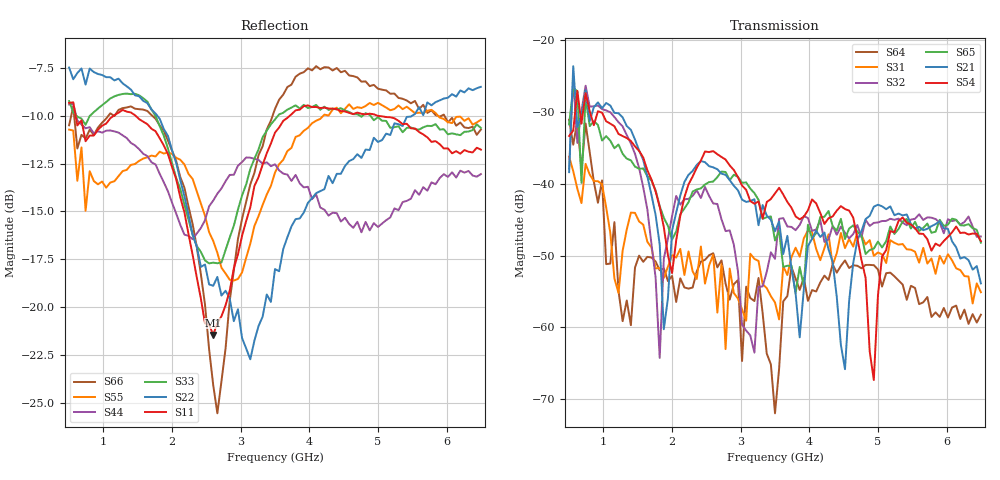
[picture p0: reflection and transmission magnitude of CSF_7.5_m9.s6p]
!Keysight Technologies,M9804A,MY58100912,A.14.10.03
!Date: Thursday, April 27, 2023 10:28:33
!Correction: S11(C  6-Port  )
!S12(C  6-Port  )
!S13(C  6-Port  )
!S14(C  6-Port  )
!S15(C  6-Port  )
!S16(C  6-Port  )
!S21(C  6-Port  )
!S22(C  6-Port  )
!S23(C  6-Port  )
!S24(C  6-Port  )
!S25(C  6-Port  )
!S26(C  6-Port  )
!S31(C  6-Port  )
!S32(C  6-Port  )
!S33(C  6-Port  )
!S34(C  6-Port  )
!S35(C  6-Port  )
!S36(C  6-Port  )
!S41(C  6-Port  )
!S42(C  6-Port  )
!S43(C  6-Port  )
!S44(C  6-Port  )
!S45(C  6-Port  )
!S46(C  6-Port  )
!S51(C  6-Port  )
!S52(C  6-Port  )
!S53(C  6-Port  )
!S54(C  6-Port  )
!S55(C  6-Port  )
!S56(C  6-Port  )
!S61(C  6-Port  )
!S62(C  6-Port  )
!S63(C  6-Port  )
!S64(C  6-Port  )
!S65(C  6-Port  )
!S66(C  6-Port  )
!S6P File: Measurement: :
# Hz S  RI  R 50
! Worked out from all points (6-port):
!   101 points, 500 MHz to 6.5 GHz, reference 50 ohm
!   strongest paths, dB at 500 MHz, 2 GHz, 3.5 GHz, 5 GHz, 6.5 GHz:
!     S54: -33.3, -52.4, -41.3, -55.6, -48.0
!     S21: -38.4, -46.5, -46.6, -42.9, -53.9
!     S65: -31.7, -47.8, -47.9, -48.0, -48.2
!     S32: -37.9, -44.5, -50.4, -45.4, -47.3
!     S31: -36.2, -49.9, -56.5, -49.6, -55.1
!     S64: -31.1, -52.8, -72.0, -51.9, -58.2
!   lowest |S11| = -21.4 dB at 2.6 GHz (marker M1), VSWR 1.19, Z = 42.5 + j2.31 ohm
!   |S11| at or under -10 dB: 594.4 MHz to 1.153 GHz (558.2 MHz wide, 63.9 % of centre); 1.465 GHz to 3.719 GHz (2.254 GHz wide, 87 % of centre); 4.988 GHz to end of sweep
